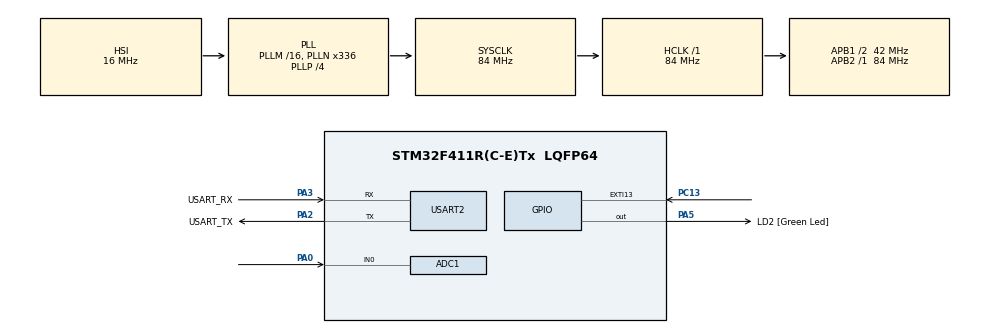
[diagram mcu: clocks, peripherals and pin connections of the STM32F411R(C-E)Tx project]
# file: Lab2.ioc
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ADC1.Channel-0\#ChannelRegularConversion=ADC_CHANNEL_0
ADC1.Channel-1\#ChannelRegularConversion=ADC_CHANNEL_TEMPSENSOR
ADC1.ContinuousConvMode=ENABLE
ADC1.DMAContinuousRequests=ENABLE
ADC1.NbrOfConversion=2
ADC1.NbrOfConversionFlag=1
ADC1.Rank-0\#ChannelRegularConversion=1
ADC1.Rank-1\#ChannelRegularConversion=2
ADC1.SamplingTime-0\#ChannelRegularConversion=ADC_SAMPLETIME_56CYCLES
ADC1.SamplingTime-1\#ChannelRegularConversion=ADC_SAMPLETIME_56CYCLES
ADC1.master=1
Dma.ADC1.0.Direction=DMA_PERIPH_TO_MEMORY
Dma.ADC1.0.FIFOMode=DMA_FIFOMODE_DISABLE
Dma.ADC1.0.Instance=DMA2_Stream0
Dma.ADC1.0.MemDataAlignment=DMA_MDATAALIGN_HALFWORD
Dma.ADC1.0.MemInc=DMA_MINC_ENABLE
Dma.ADC1.0.Mode=DMA_CIRCULAR
Dma.ADC1.0.PeriphDataAlignment=DMA_PDATAALIGN_HALFWORD
Dma.ADC1.0.PeriphInc=DMA_PINC_DISABLE
Dma.ADC1.0.Priority=DMA_PRIORITY_LOW
Dma.Request0=ADC1
Mcu.Family=STM32F4
Mcu.Name=STM32F411R(C-E)Tx
Mcu.Package=LQFP64
NVIC.ADC_IRQn=true\:0\:0\:false\:false\:true\:true\:true\:true
NVIC.DMA2_Stream0_IRQn=true\:0\:0\:false\:false\:true\:false\:true\:true
NVIC.EXTI15_10_IRQn=true\:0\:0\:false\:false\:true\:true\:true\:true
NVIC.PriorityGroup=NVIC_PRIORITYGROUP_0
PA0-WKUP.Signal=ADCx_IN0
PA13.GPIO_Label=TMS
PA13.Mode=Serial_Wire
PA13.Signal=SYS_JTMS-SWDIO
PA14.GPIO_Label=TCK
PA14.Mode=Serial_Wire
PA14.Signal=SYS_JTCK-SWCLK
PA2.GPIO_Label=USART_TX
PA2.Mode=Asynchronous
PA2.Signal=USART2_TX
PA3.GPIO_Label=USART_RX
PA3.Mode=Asynchronous
PA3.Signal=USART2_RX
PA5.GPIO_Label=LD2 [Green Led]
PA5.Signal=GPIO_Output
PB3.GPIO_Label=SWO
PB3.Signal=SYS_JTDO-SWO
PC13-ANTI_TAMP.Signal=GPXTI13
PC14-OSC32_IN.Mode=LSE-External-Oscillator
PC14-OSC32_IN.Signal=RCC_OSC32_IN
PC15-OSC32_OUT.Mode=LSE-External-Oscillator
PC15-OSC32_OUT.Signal=RCC_OSC32_OUT
PH0\ -\ OSC_IN.Mode=HSE-External-Clock-Source
PH0\ -\ OSC_IN.Signal=RCC_OSC_IN
PH1\ -\ OSC_OUT.Mode=HSE-External-Clock-Source
PH1\ -\ OSC_OUT.Signal=RCC_OSC_OUT
ProjectManager.HeapSize=0x200
ProjectManager.StackSize=0x400
ProjectManager.TargetToolchain=STM32CubeIDE
RCC.48MHZClocksFreq_Value=84000000
RCC.AHBFreq_Value=84000000
RCC.APB1CLKDivider=RCC_HCLK_DIV2
RCC.APB1Freq_Value=42000000
RCC.APB1TimFreq_Value=84000000
RCC.APB2Freq_Value=84000000
RCC.APB2TimFreq_Value=84000000
RCC.CortexFreq_Value=84000000
RCC.FLatency-AdvancedSettings=FLASH_LATENCY_2
RCC.HCLKFreq_Value=84000000
RCC.HSE_VALUE=8000000
RCC.HSI_VALUE=16000000
RCC.PLLN=336
RCC.PLLP=RCC_PLLP_DIV4
RCC.SYSCLKFreq_VALUE=84000000
RCC.SYSCLKSource=RCC_SYSCLKSOURCE_PLLCLK
RCC.VCOOutputFreq_Value=336000000
SH.ADCx_IN0.0=ADC1_IN0,IN0
USART2.VirtualMode=VM_ASYNC
VP_ADC1_TempSens_Input.Mode=IN-TempSens
board=NUCLEO-F411RE

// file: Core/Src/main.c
/* USER CODE BEGIN Header */
/**
  ******************************************************************************
  * @file           : main.c
  * @brief          : Main program body
  ******************************************************************************
  * @attention
  *
  * Copyright (c) 2023 STMicroelectronics.
  * All rights reserved.
  *
  * This software is licensed under terms that can be found in the LICENSE file
  * in the root directory of this software component.
  * If no LICENSE file comes with this software, it is provided AS-IS.
  *
  ******************************************************************************
  */
/* USER CODE END Header */
#include "main.h"

ADC_HandleTypeDef hadc1;
DMA_HandleTypeDef hdma_adc1;

UART_HandleTypeDef huart2;

/* USER CODE BEGIN PV */
int sum =0;
uint16_t Voltage[10];
uint32_t averagevolt=0;
uint32_t SumVolt=0;

uint16_t VoltageTemp[10];
uint32_t averageVoltageTemp=0;
uint32_t SumVoltageTemp=0;
uint32_t averageTemp=0;
uint16_t adcRawData[20];

/* USER CODE END PV */

void SystemClock_Config(void);
static void MX_GPIO_Init(void);
static void MX_DMA_Init(void);
static void MX_USART2_UART_Init(void);
static void MX_ADC1_Init(void);
/* USER CODE BEGIN PFP */
void Resolution();
/* USER CODE END PFP */

int main(void)
{

  /* MCU Configuration--------------------------------------------------------*/

  /* Reset of all peripherals, Initializes the Flash interface and the Systick. */
  HAL_Init();

  /* Configure the system clock */
  SystemClock_Config();

  /* Initialize all configured peripherals */
  MX_GPIO_Init();
  MX_DMA_Init();
  MX_USART2_UART_Init();
  MX_ADC1_Init();

  /* Infinite loop */
  /* USER CODE BEGIN WHILE */
  while (1)
  {
	  static uint32_t timestamp = 0;
	  if (HAL_GetTick()>= timestamp)
	  {
		  timestamp = HAL_GetTick()+1000;
		  Resolution();

	  }

    /* USER CODE END WHILE */

  }
}

void SystemClock_Config(void)
{
  RCC_OscInitTypeDef RCC_OscInitStruct = {0};
  RCC_ClkInitTypeDef RCC_ClkInitStruct = {0};

  /** Configure the main internal regulator output voltage
  */
  __HAL_RCC_PWR_CLK_ENABLE();
  __HAL_PWR_VOLTAGESCALING_CONFIG(PWR_REGULATOR_VOLTAGE_SCALE1);

  /** Initializes the RCC Oscillators according to the specified parameters
  * in the RCC_OscInitTypeDef structure.
  */
  RCC_OscInitStruct.OscillatorType = RCC_OSCILLATORTYPE_HSI;
  RCC_OscInitStruct.HSIState = RCC_HSI_ON;
  RCC_OscInitStruct.HSICalibrationValue = RCC_HSICALIBRATION_DEFAULT;
  RCC_OscInitStruct.PLL.PLLState = RCC_PLL_ON;
  RCC_OscInitStruct.PLL.PLLSource = RCC_PLLSOURCE_HSI;
  RCC_OscInitStruct.PLL.PLLM = 16;
  RCC_OscInitStruct.PLL.PLLN = 336;
  RCC_OscInitStruct.PLL.PLLP = RCC_PLLP_DIV4;
  RCC_OscInitStruct.PLL.PLLQ = 4;
  if (HAL_RCC_OscConfig(&RCC_OscInitStruct) != HAL_OK)
  {
    Error_Handler();
  }

  /** Initializes the CPU, AHB and APB buses clocks
  */
  RCC_ClkInitStruct.ClockType = RCC_CLOCKTYPE_HCLK|RCC_CLOCKTYPE_SYSCLK
                              |RCC_CLOCKTYPE_PCLK1|RCC_CLOCKTYPE_PCLK2;
  RCC_ClkInitStruct.SYSCLKSource = RCC_SYSCLKSOURCE_PLLCLK;
  RCC_ClkInitStruct.AHBCLKDivider = RCC_SYSCLK_DIV1;
  RCC_ClkInitStruct.APB1CLKDivider = RCC_HCLK_DIV2;
  RCC_ClkInitStruct.APB2CLKDivider = RCC_HCLK_DIV1;

  if (HAL_RCC_ClockConfig(&RCC_ClkInitStruct, FLASH_LATENCY_2) != HAL_OK)
  {
    Error_Handler();
  }
}

static void MX_ADC1_Init(void)
{

  ADC_ChannelConfTypeDef sConfig = {0};

  /** Configure the global features of the ADC (Clock, Resolution, Data Alignment and number of conversion)
  */
  hadc1.Instance = ADC1;
  hadc1.Init.ClockPrescaler = ADC_CLOCK_SYNC_PCLK_DIV4;
  hadc1.Init.Resolution = ADC_RESOLUTION_12B;
  hadc1.Init.ScanConvMode = ENABLE;
  hadc1.Init.ContinuousConvMode = ENABLE;
  hadc1.Init.DiscontinuousConvMode = DISABLE;
  hadc1.Init.ExternalTrigConvEdge = ADC_EXTERNALTRIGCONVEDGE_NONE;
  hadc1.Init.ExternalTrigConv = ADC_SOFTWARE_START;
  hadc1.Init.DataAlign = ADC_DATAALIGN_RIGHT;
  hadc1.Init.NbrOfConversion = 2;
  hadc1.Init.DMAContinuousRequests = ENABLE;
  hadc1.Init.EOCSelection = ADC_EOC_SINGLE_CONV;
  if (HAL_ADC_Init(&hadc1) != HAL_OK)
  {
    Error_Handler();
  }

  /** Configure for the selected ADC regular channel its corresponding rank in the sequencer and its sample time.
  */
  sConfig.Channel = ADC_CHANNEL_0;
  sConfig.Rank = 1;
  sConfig.SamplingTime = ADC_SAMPLETIME_56CYCLES;
  if (HAL_ADC_ConfigChannel(&hadc1, &sConfig) != HAL_OK)
  {
    Error_Handler();
  }

  /** Configure for the selected ADC regular channel its corresponding rank in the sequencer and its sample time.
  */
  sConfig.Channel = ADC_CHANNEL_TEMPSENSOR;
  sConfig.Rank = 2;
  if (HAL_ADC_ConfigChannel(&hadc1, &sConfig) != HAL_OK)
  {
    Error_Handler();
  }

}

static void MX_USART2_UART_Init(void)
{

  huart2.Instance = USART2;
  huart2.Init.BaudRate = 115200;
  huart2.Init.WordLength = UART_WORDLENGTH_8B;
  huart2.Init.StopBits = UART_STOPBITS_1;
  huart2.Init.Parity = UART_PARITY_NONE;
  huart2.Init.Mode = UART_MODE_TX_RX;
  huart2.Init.HwFlowCtl = UART_HWCONTROL_NONE;
  huart2.Init.OverSampling = UART_OVERSAMPLING_16;
  if (HAL_UART_Init(&huart2) != HAL_OK)
  {
    Error_Handler();
  }

}

static void MX_DMA_Init(void)
{

  /* DMA controller clock enable */
  __HAL_RCC_DMA2_CLK_ENABLE();

  /* DMA interrupt init */
  /* DMA2_Stream0_IRQn interrupt configuration */
  HAL_NVIC_SetPriority(DMA2_Stream0_IRQn, 0, 0);
  HAL_NVIC_EnableIRQ(DMA2_Stream0_IRQn);

}

static void MX_GPIO_Init(void)
{
  GPIO_InitTypeDef GPIO_InitStruct = {0};

  /* GPIO Ports Clock Enable */
  __HAL_RCC_GPIOC_CLK_ENABLE();
  __HAL_RCC_GPIOH_CLK_ENABLE();
  __HAL_RCC_GPIOA_CLK_ENABLE();
  __HAL_RCC_GPIOB_CLK_ENABLE();

  /*Configure GPIO pin Output Level */
  HAL_GPIO_WritePin(LD2_GPIO_Port, LD2_Pin, GPIO_PIN_RESET);

  /*Configure GPIO pin : PC13 */
  GPIO_InitStruct.Pin = GPIO_PIN_13;
  GPIO_InitStruct.Mode = GPIO_MODE_IT_RISING;
  GPIO_InitStruct.Pull = GPIO_NOPULL;
  HAL_GPIO_Init(GPIOC, &GPIO_InitStruct);

  /*Configure GPIO pin : LD2_Pin */
  GPIO_InitStruct.Pin = LD2_Pin;
  GPIO_InitStruct.Mode = GPIO_MODE_OUTPUT_PP;
  GPIO_InitStruct.Pull = GPIO_NOPULL;
  GPIO_InitStruct.Speed = GPIO_SPEED_FREQ_LOW;
  HAL_GPIO_Init(LD2_GPIO_Port, &GPIO_InitStruct);

  /* EXTI interrupt init*/
  HAL_NVIC_SetPriority(EXTI15_10_IRQn, 0, 0);
  HAL_NVIC_EnableIRQ(EXTI15_10_IRQn);

}

/* USER CODE BEGIN 4 */
void HAL_GPIO_EXTI_Callback(uint16_t GPIO_Pin)
{
	if(GPIO_Pin==GPIO_PIN_13)
	{
		HAL_ADC_Start_DMA(&hadc1, adcRawData, 20);
		//Resolution();
	}
}
void Resolution()
{
	register int i;
	register int j=0;
	register int k;
	for (i=0;i<20;i++)
	{
		if(i%2==0)
		{
			Voltage[j]=((adcRawData[i]*3300)/4095.0)*2;
			SumVolt+=Voltage[j];
			j++;

			if(j==10)
			{
				averagevolt=SumVolt/10;
				SumVolt=0;
				j=0;
			}

		}
		else
		{

			VoltageTemp[k]=(adcRawData[i]*3300)/4095;
			SumVoltageTemp+=VoltageTemp[k];
			k++;
			if(k==10)
			{
				averageVoltageTemp=SumVoltageTemp/10;
				SumVoltageTemp=0;
				k=0;
				averageTemp=((averageVoltageTemp-(0.76*1000))/2.5)+25+273.15;
			}

		}
	}

}

/* USER CODE END 4 */

void Error_Handler(void)
{
  __disable_irq();
  while (1)
  {
  }
}
